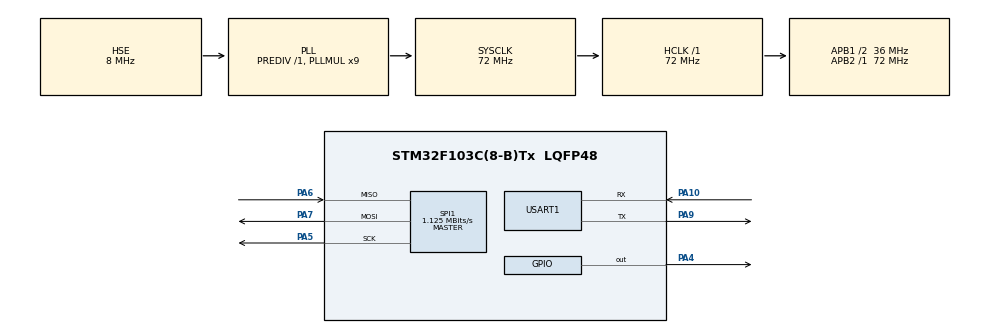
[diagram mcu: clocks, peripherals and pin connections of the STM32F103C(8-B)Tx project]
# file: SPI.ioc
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Dma.Request0=SPI1_RX
Dma.Request1=SPI1_TX
Dma.SPI1_RX.0.Direction=DMA_PERIPH_TO_MEMORY
Dma.SPI1_RX.0.Instance=DMA1_Channel2
Dma.SPI1_RX.0.MemDataAlignment=DMA_MDATAALIGN_BYTE
Dma.SPI1_RX.0.MemInc=DMA_MINC_ENABLE
Dma.SPI1_RX.0.Mode=DMA_NORMAL
Dma.SPI1_RX.0.PeriphDataAlignment=DMA_PDATAALIGN_BYTE
Dma.SPI1_RX.0.PeriphInc=DMA_PINC_DISABLE
Dma.SPI1_RX.0.Priority=DMA_PRIORITY_LOW
Dma.SPI1_TX.1.Direction=DMA_MEMORY_TO_PERIPH
Dma.SPI1_TX.1.Instance=DMA1_Channel3
Dma.SPI1_TX.1.MemDataAlignment=DMA_MDATAALIGN_BYTE
Dma.SPI1_TX.1.MemInc=DMA_MINC_ENABLE
Dma.SPI1_TX.1.Mode=DMA_NORMAL
Dma.SPI1_TX.1.PeriphDataAlignment=DMA_PDATAALIGN_BYTE
Dma.SPI1_TX.1.PeriphInc=DMA_PINC_DISABLE
Dma.SPI1_TX.1.Priority=DMA_PRIORITY_LOW
Mcu.Family=STM32F1
Mcu.Name=STM32F103C(8-B)Tx
Mcu.Package=LQFP48
NVIC.DMA1_Channel2_IRQn=true\:0\:0\:false\:false\:true\:false\:true\:true
NVIC.DMA1_Channel3_IRQn=true\:0\:0\:false\:false\:true\:false\:true\:true
NVIC.PriorityGroup=NVIC_PRIORITYGROUP_4
PA10.Mode=Asynchronous
PA10.Signal=USART1_RX
PA13.Mode=Serial_Wire
PA13.Signal=SYS_JTMS-SWDIO
PA14.Mode=Serial_Wire
PA14.Signal=SYS_JTCK-SWCLK
PA4.Signal=GPIO_Output
PA5.Mode=Full_Duplex_Master
PA5.Signal=SPI1_SCK
PA6.Mode=Full_Duplex_Master
PA6.Signal=SPI1_MISO
PA7.Mode=Full_Duplex_Master
PA7.Signal=SPI1_MOSI
PA9.Mode=Asynchronous
PA9.Signal=USART1_TX
PD0-OSC_IN.Mode=HSE-External-Oscillator
PD0-OSC_IN.Signal=RCC_OSC_IN
PD1-OSC_OUT.Mode=HSE-External-Oscillator
PD1-OSC_OUT.Signal=RCC_OSC_OUT
ProjectManager.HeapSize=0x200
ProjectManager.StackSize=0x400
ProjectManager.TargetToolchain=CMake
RCC.AHBFreq_Value=72000000
RCC.APB1CLKDivider=RCC_HCLK_DIV2
RCC.APB1Freq_Value=36000000
RCC.APB1TimFreq_Value=72000000
RCC.APB2Freq_Value=72000000
RCC.APB2TimFreq_Value=72000000
RCC.HCLKFreq_Value=72000000
RCC.PLLMUL=RCC_PLL_MUL9
RCC.PLLSourceVirtual=RCC_PLLSOURCE_HSE
RCC.SYSCLKFreq_VALUE=72000000
RCC.SYSCLKSource=RCC_SYSCLKSOURCE_PLLCLK
RCC.USBFreq_Value=72000000
SPI1.BaudRatePrescaler=SPI_BAUDRATEPRESCALER_64
SPI1.CalculateBaudRate=1.125 MBits/s
SPI1.Direction=SPI_DIRECTION_2LINES
SPI1.Mode=SPI_MODE_MASTER
SPI1.VirtualType=VM_MASTER
USART1.VirtualMode=VM_ASYNC
board=custom

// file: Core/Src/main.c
/* USER CODE BEGIN Header */
/**
  ******************************************************************************
  * @file           : main.c
  * @brief          : Main program body
  ******************************************************************************
  * @attention
  *
  * Copyright (c) 2026 STMicroelectronics.
  * All rights reserved.
  *
  * This software is licensed under terms that can be found in the LICENSE file
  * in the root directory of this software component.
  * If no LICENSE file comes with this software, it is provided AS-IS.
  *
  ******************************************************************************
  */
/* USER CODE END Header */
#include "main.h"

/* USER CODE BEGIN Includes */
#include <stdint.h>
#include <stdio.h>
#include <string.h>
/* USER CODE END Includes */

SPI_HandleTypeDef hspi1;
DMA_HandleTypeDef hdma_spi1_rx;
DMA_HandleTypeDef hdma_spi1_tx;

UART_HandleTypeDef huart1;

/* USER CODE BEGIN PV */
volatile uint8_t rx_tx_flag = 0;
/* USER CODE END PV */

void SystemClock_Config(void);
static void MX_GPIO_Init(void);
static void MX_DMA_Init(void);
static void MX_SPI1_Init(void);
static void MX_USART1_UART_Init(void);

/* USER CODE BEGIN 0 */
void HAL_SPI_TxRxCpltCallback(SPI_HandleTypeDef *hspi)
{
  if(hspi -> Instance == SPI1)
  {
    HAL_GPIO_WritePin(GPIOA,GPIO_PIN_4,GPIO_PIN_SET);
    rx_tx_flag = 1;
  }
}
/* USER CODE END 0 */

int main(void)
{

  /* MCU Configuration--------------------------------------------------------*/

  /* Reset of all peripherals, Initializes the Flash interface and the Systick. */
  HAL_Init();

  /* Configure the system clock */
  SystemClock_Config();

  /* Initialize all configured peripherals */
  MX_GPIO_Init();
  MX_DMA_Init();
  MX_SPI1_Init();
  MX_USART1_UART_Init();
  /* USER CODE BEGIN 2 */
uint32_t rx_tx_current_time = 0;
uint32_t rx_tx_last_time = 0;
uint8_t tx_data = 0x55;
uint8_t rx_data = 0;
char message[20] = "" ;
  /* USER CODE END 2 */

  /* Infinite loop */
  /* USER CODE BEGIN WHILE */
  while (1)
  {
    rx_tx_current_time = HAL_GetTick();
    if(rx_tx_current_time - rx_tx_last_time > 100)
    {
      HAL_GPIO_WritePin(GPIOA,GPIO_PIN_4,GPIO_PIN_RESET);
      HAL_SPI_TransmitReceive_DMA(&hspi1,&tx_data,&rx_data,1);
      rx_tx_last_time = HAL_GetTick();
    }
    if(rx_tx_flag == 1)
    {
      rx_tx_flag = 0;
      sprintf(message,"rx:%02X tx:%02X\r\n",rx_data,tx_data);
      HAL_UART_Transmit(&huart1,(uint8_t *)message,strlen(message),100);
    }
    /* USER CODE END WHILE */

  }
}

void SystemClock_Config(void)
{
  RCC_OscInitTypeDef RCC_OscInitStruct = {0};
  RCC_ClkInitTypeDef RCC_ClkInitStruct = {0};

  /** Initializes the RCC Oscillators according to the specified parameters
  * in the RCC_OscInitTypeDef structure.
  */
  RCC_OscInitStruct.OscillatorType = RCC_OSCILLATORTYPE_HSE;
  RCC_OscInitStruct.HSEState = RCC_HSE_ON;
  RCC_OscInitStruct.HSEPredivValue = RCC_HSE_PREDIV_DIV1;
  RCC_OscInitStruct.HSIState = RCC_HSI_ON;
  RCC_OscInitStruct.PLL.PLLState = RCC_PLL_ON;
  RCC_OscInitStruct.PLL.PLLSource = RCC_PLLSOURCE_HSE;
  RCC_OscInitStruct.PLL.PLLMUL = RCC_PLL_MUL9;
  if (HAL_RCC_OscConfig(&RCC_OscInitStruct) != HAL_OK)
  {
    Error_Handler();
  }

  /** Initializes the CPU, AHB and APB buses clocks
  */
  RCC_ClkInitStruct.ClockType = RCC_CLOCKTYPE_HCLK|RCC_CLOCKTYPE_SYSCLK
                              |RCC_CLOCKTYPE_PCLK1|RCC_CLOCKTYPE_PCLK2;
  RCC_ClkInitStruct.SYSCLKSource = RCC_SYSCLKSOURCE_PLLCLK;
  RCC_ClkInitStruct.AHBCLKDivider = RCC_SYSCLK_DIV1;
  RCC_ClkInitStruct.APB1CLKDivider = RCC_HCLK_DIV2;
  RCC_ClkInitStruct.APB2CLKDivider = RCC_HCLK_DIV1;

  if (HAL_RCC_ClockConfig(&RCC_ClkInitStruct, FLASH_LATENCY_2) != HAL_OK)
  {
    Error_Handler();
  }
}

static void MX_SPI1_Init(void)
{

  /* SPI1 parameter configuration*/
  hspi1.Instance = SPI1;
  hspi1.Init.Mode = SPI_MODE_MASTER;
  hspi1.Init.Direction = SPI_DIRECTION_2LINES;
  hspi1.Init.DataSize = SPI_DATASIZE_8BIT;
  hspi1.Init.CLKPolarity = SPI_POLARITY_LOW;
  hspi1.Init.CLKPhase = SPI_PHASE_1EDGE;
  hspi1.Init.NSS = SPI_NSS_SOFT;
  hspi1.Init.BaudRatePrescaler = SPI_BAUDRATEPRESCALER_64;
  hspi1.Init.FirstBit = SPI_FIRSTBIT_MSB;
  hspi1.Init.TIMode = SPI_TIMODE_DISABLE;
  hspi1.Init.CRCCalculation = SPI_CRCCALCULATION_DISABLE;
  hspi1.Init.CRCPolynomial = 10;
  if (HAL_SPI_Init(&hspi1) != HAL_OK)
  {
    Error_Handler();
  }

}

static void MX_USART1_UART_Init(void)
{

  huart1.Instance = USART1;
  huart1.Init.BaudRate = 115200;
  huart1.Init.WordLength = UART_WORDLENGTH_8B;
  huart1.Init.StopBits = UART_STOPBITS_1;
  huart1.Init.Parity = UART_PARITY_NONE;
  huart1.Init.Mode = UART_MODE_TX_RX;
  huart1.Init.HwFlowCtl = UART_HWCONTROL_NONE;
  huart1.Init.OverSampling = UART_OVERSAMPLING_16;
  if (HAL_UART_Init(&huart1) != HAL_OK)
  {
    Error_Handler();
  }

}

static void MX_DMA_Init(void)
{

  /* DMA controller clock enable */
  __HAL_RCC_DMA1_CLK_ENABLE();

  /* DMA interrupt init */
  /* DMA1_Channel2_IRQn interrupt configuration */
  HAL_NVIC_SetPriority(DMA1_Channel2_IRQn, 0, 0);
  HAL_NVIC_EnableIRQ(DMA1_Channel2_IRQn);
  /* DMA1_Channel3_IRQn interrupt configuration */
  HAL_NVIC_SetPriority(DMA1_Channel3_IRQn, 0, 0);
  HAL_NVIC_EnableIRQ(DMA1_Channel3_IRQn);

}

static void MX_GPIO_Init(void)
{
  GPIO_InitTypeDef GPIO_InitStruct = {0};

  /* GPIO Ports Clock Enable */
  __HAL_RCC_GPIOD_CLK_ENABLE();
  __HAL_RCC_GPIOA_CLK_ENABLE();

  /*Configure GPIO pin Output Level */
  HAL_GPIO_WritePin(GPIOA, GPIO_PIN_4, GPIO_PIN_RESET);

  /*Configure GPIO pin : PA4 */
  GPIO_InitStruct.Pin = GPIO_PIN_4;
  GPIO_InitStruct.Mode = GPIO_MODE_OUTPUT_PP;
  GPIO_InitStruct.Pull = GPIO_NOPULL;
  GPIO_InitStruct.Speed = GPIO_SPEED_FREQ_LOW;
  HAL_GPIO_Init(GPIOA, &GPIO_InitStruct);

}

void Error_Handler(void)
{
  __disable_irq();
  while (1)
  {
  }
}
